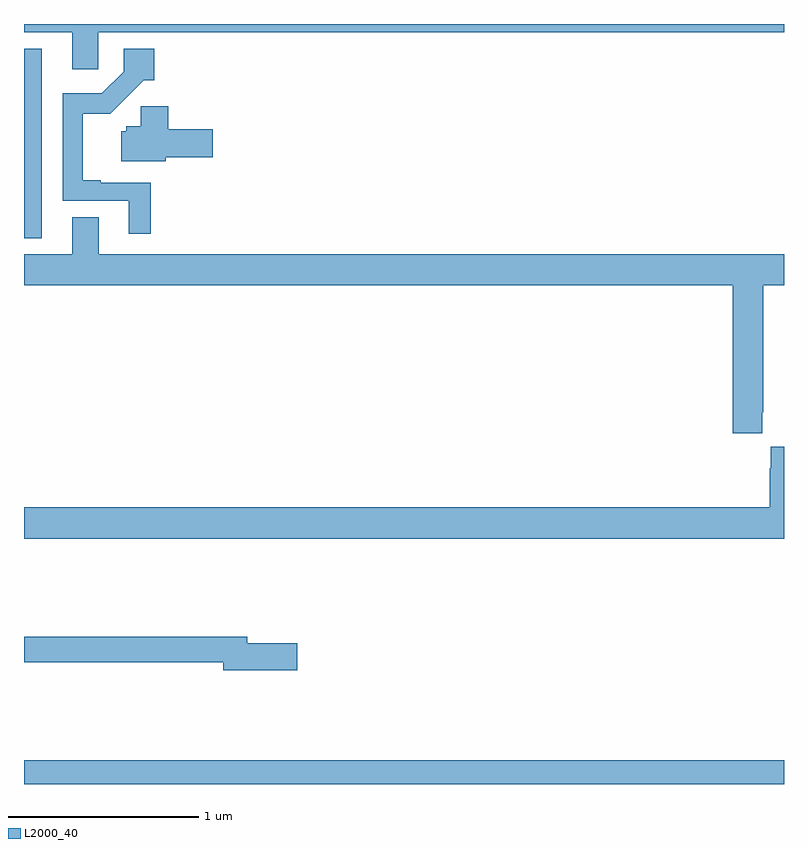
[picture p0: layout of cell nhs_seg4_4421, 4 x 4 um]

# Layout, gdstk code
import gdstk
lib = gdstk.Library(unit=1e-6, precision=1e-09)
def R(c, l, rs):  # rectangles x0, y0, x1, y1
    for r in rs: c.add(gdstk.rectangle(r[:2], r[2:], *l))
def P(c, l, *ps):  # polygons
    for p in ps: c.add(gdstk.Polygon(p, *l))
L2000_40 = (2000, 40)

nhs_seg4_4421 = lib.new_cell('nhs_seg4_4421')
R(nhs_seg4_4421, L2000_40, [(349,756.9,353,757.024), (349,759.773,349.093,760.771)])
P(nhs_seg4_4421, L2000_40, [(349.392,760.856),(353,760.856),(353,760.9),(349,760.9),(349,760.856),(349.253,760.856),(349.253,760.662),(349.392,760.662)],
  [(349.667,760.065),(349.405,760.065),(349.405,760.078),(349.309,760.078),(349.309,760.427),(349.453,760.427),(349.631,760.604),(349.685,760.604),(349.685,760.771),(349.524,760.771),(349.524,760.65),(349.41,760.536),(349.205,760.536),(349.205,759.969),(349.55,759.969),(349.55,759.795),(349.667,759.795)],
  [(349.747,760.199),(349.993,760.199),(349.993,760.346),(349.76,760.346),(349.76,760.467),(349.615,760.467),(349.615,760.362),(349.539,760.362),(349.539,760.335),(349.511,760.335),(349.511,760.178),(349.747,760.178)],
  [(352.885,758.857),(352.89,758.857),(352.89,759.524),(353,759.524),(353,759.688),(349.393,759.688),(349.393,759.883),(349.253,759.883),(349.253,759.688),(349,759.688),(349,759.524),(352.73,759.524),(352.73,758.745),(352.885,758.745)],
  [(353,758.674),(352.931,758.674),(352.931,758.561),(352.925,758.561),(352.925,758.356),(349,758.356),(349,758.192),(353,758.192)],
  [(350.437,757.64),(350.176,757.64),(350.176,757.676),(349,757.676),(349,757.54),(350.048,757.54),(350.048,757.498),(350.437,757.498)])

lib.write_gds('nhs_seg4_4421.gds')
